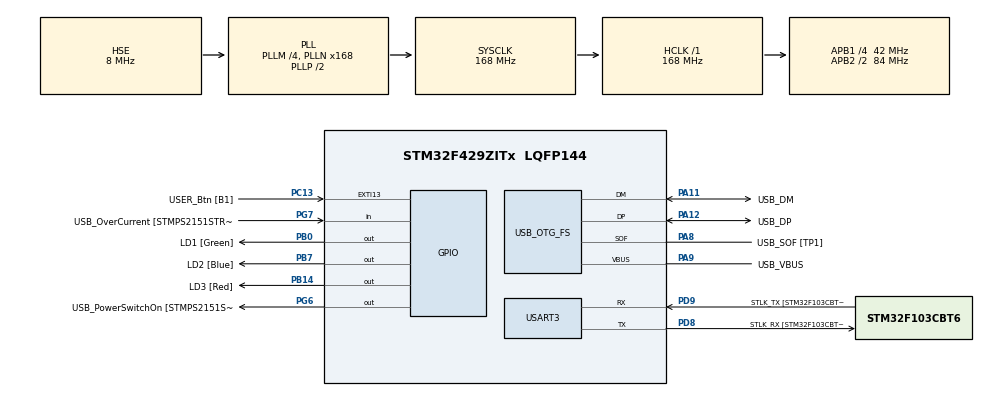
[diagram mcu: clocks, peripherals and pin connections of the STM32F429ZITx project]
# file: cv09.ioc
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Mcu.Family=STM32F4
Mcu.Name=STM32F429ZITx
Mcu.Package=LQFP144
NVIC.OTG_FS_IRQn=true\:0\:0\:false\:false\:true\:false\:true\:true
NVIC.PriorityGroup=NVIC_PRIORITYGROUP_4
PA1.GPIO_Label=RMII_REF_CLK [LAN8742A-CZ-TR_REFCLK0]
PA1.Signal=ETH_REF_CLK
PA10.GPIO_Label=USB_ID
PA10.Signal=USB_OTG_FS_ID
PA11.GPIO_Label=USB_DM
PA11.Mode=Device_Only
PA11.Signal=USB_OTG_FS_DM
PA12.GPIO_Label=USB_DP
PA12.Mode=Device_Only
PA12.Signal=USB_OTG_FS_DP
PA13.GPIO_Label=TMS
PA13.Mode=Serial_Wire
PA13.Signal=SYS_JTMS-SWDIO
PA14.GPIO_Label=TCK
PA14.Mode=Serial_Wire
PA14.Signal=SYS_JTCK-SWCLK
PA2.GPIO_Label=RMII_MDIO [LAN8742A-CZ-TR_MDIO]
PA2.Signal=ETH_MDIO
PA7.GPIO_Label=RMII_CRS_DV [LAN8742A-CZ-TR_CRS_DV]
PA7.Signal=ETH_CRS_DV
PA8.GPIO_Label=USB_SOF [TP1]
PA8.Mode=Activate_SOF_FS
PA8.Signal=USB_OTG_FS_SOF
PA9.GPIO_Label=USB_VBUS
PA9.Mode=Activate_VBUS
PA9.Signal=USB_OTG_FS_VBUS
PB0.GPIO_Label=LD1 [Green]
PB0.Signal=GPIO_Output
PB13.GPIO_Label=RMII_TXD1 [LAN8742A-CZ-TR_TXD1]
PB13.Signal=ETH_TXD1
PB14.GPIO_Label=LD3 [Red]
PB14.Signal=GPIO_Output
PB7.GPIO_Label=LD2 [Blue]
PB7.Signal=GPIO_Output
PC1.GPIO_Label=RMII_MDC [LAN8742A-CZ-TR_MDC]
PC1.Signal=ETH_MDC
PC13.GPIO_Label=USER_Btn [B1]
PC13.Signal=GPXTI13
PC14/OSC32_IN.Mode=LSE-External-Oscillator
PC14/OSC32_IN.Signal=RCC_OSC32_IN
PC15/OSC32_OUT.Mode=LSE-External-Oscillator
PC15/OSC32_OUT.Signal=RCC_OSC32_OUT
PC4.GPIO_Label=RMII_RXD0 [LAN8742A-CZ-TR_RXD0]
PC4.Signal=ETH_RXD0
PC5.GPIO_Label=RMII_RXD1 [LAN8742A-CZ-TR_RXD1]
PC5.Signal=ETH_RXD1
PD8.GPIO_Label=STLK_RX [STM32F103CBT6_PA3]
PD8.Mode=Asynchronous
PD8.Signal=USART3_TX
PD9.GPIO_Label=STLK_TX [STM32F103CBT6_PA2]
PD9.Mode=Asynchronous
PD9.Signal=USART3_RX
PG11.GPIO_Label=RMII_TX_EN [LAN8742A-CZ-TR_TXEN]
PG11.Signal=ETH_TX_EN
PG13.GPIO_Label=RMII_TXD0 [LAN8742A-CZ-TR_TXD0]
PG13.Signal=ETH_TXD0
PG6.GPIO_Label=USB_PowerSwitchOn [STMPS2151STR_EN]
PG6.Signal=GPIO_Output
PG7.GPIO_Label=USB_OverCurrent [STMPS2151STR_FAULT]
PG7.Signal=GPIO_Input
PH0/OSC_IN.GPIO_Label=MCO [STM32F103CBT6_PA8]
PH0/OSC_IN.Mode=HSE-External-Clock-Source
PH0/OSC_IN.Signal=RCC_OSC_IN
PH1/OSC_OUT.Mode=HSE-External-Clock-Source
PH1/OSC_OUT.Signal=RCC_OSC_OUT
ProjectManager.HeapSize=0x200
ProjectManager.StackSize=0x400
ProjectManager.TargetToolchain=STM32CubeIDE
RCC.48MHZClocksFreq_Value=48000000
RCC.AHBFreq_Value=168000000
RCC.APB1CLKDivider=RCC_HCLK_DIV4
RCC.APB1Freq_Value=42000000
RCC.APB1TimFreq_Value=84000000
RCC.APB2CLKDivider=RCC_HCLK_DIV2
RCC.APB2Freq_Value=84000000
RCC.APB2TimCLKDivider=2
RCC.APB2TimFreq_Value=168000000
RCC.CortexFreq_Value=168000000
RCC.HCLKFreq_Value=168000000
RCC.HSE_VALUE=8000000
RCC.HSI_VALUE=16000000
RCC.PLLM=4
RCC.PLLMUL=RCC_PLL_MUL9
RCC.PLLN=168
RCC.PLLQ=7
RCC.PRESCALERUSB=RCC_USBCLKSOURCE_PLL_DIV1_5
RCC.SYSCLKFreq_VALUE=168000000
RCC.SYSCLKSource=RCC_SYSCLKSOURCE_PLLCLK
RCC.SYSCLKSourceVirtual=RCC_SYSCLKSOURCE_PLLCLK
RCC.USBFreq_Value=48000000
RCC.VCOOutputFreq_Value=336000000
USART3.VirtualMode=VM_ASYNC
USB_DEVICE.CLASS_NAME_FS=HID
USB_DEVICE.VirtualMode-HID_FS=Hid
USB_DEVICE.VirtualModeFS=Hid_FS
USB_OTG_FS.VirtualMode=Device_Only
VP_USB_DEVICE_VS_USB_DEVICE_HID_FS.Mode=HID_FS
board=NUCLEO-F429ZI

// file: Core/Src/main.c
/* USER CODE BEGIN Header */
/**
 ******************************************************************************
 * @file           : main.c
 * @brief          : Main program body
 ******************************************************************************
 * @attention
 *
 * Copyright (c) 2022 STMicroelectronics.
 * All rights reserved.
 *
 * This software is licensed under terms that can be found in the LICENSE file
 * in the root directory of this software component.
 * If no LICENSE file comes with this software, it is provided AS-IS.
 *
 ******************************************************************************
 */
/* USER CODE END Header */
#include "main.h"
#include "usb_device.h"

/* USER CODE BEGIN Includes */
#include  "usbd_hid.h"
#include <math.h>
/* USER CODE END Includes */

/* USER CODE BEGIN PD */
#define PI 3.14
/* USER CODE END PD */

UART_HandleTypeDef huart3;

/* USER CODE BEGIN PV */
extern USBD_HandleTypeDef hUsbDeviceFS;
float a;
float x;
float y;
int dx; // shift
int dy; // shift
/* USER CODE END PV */

void SystemClock_Config(void);
static void MX_GPIO_Init(void);
static void MX_USART3_UART_Init(void);

/* USER CODE BEGIN 0 */
static void step(int8_t x, int8_t y, uint8_t btn) {
	uint8_t buff[4];
	buff[0] = (uint8_t) btn; 		// stiskni leve tlacitko
	buff[1] = (int8_t) x; 			// posun po ose X
	buff[2] = (int8_t) y; 			// posun po ose Y
	buff[3] = 0; 					// bez scrollu
	USBD_HID_SendReport(&hUsbDeviceFS, buff, sizeof(buff));
	HAL_Delay(USBD_HID_GetPollingInterval(&hUsbDeviceFS));
}

static void circle(int r) {

	for ( a = 0; a < 2*PI + PI/18; a = a + PI/18 ){
		x = r*cos(a);
		y = r*sin(a);

		dx = round(x);	// rounding
		dy = round(y);
		step(dx,dy,1);	// sending the new data
	}

}

static void eyes(int r) {
	step(dx,dy,0);
	step(-50,30,0); // move to left eye

	for ( a = 0; a < 2*PI; a = a + PI/18 ){
		x = r*cos(a);
		y = r*sin(a);

		dx = round(x);
		dy = round(y);
		step(dx,dy,1);
	}

	step(dx,dy,0);
	step(90,0,0); // move to right eye

	for ( a = 0; a < 2*PI; a = a + PI/18 ){
		x = r*cos(a);
		y = r*sin(a);

		dx = round(x);
		dy = round(y);
		step(dx,dy,1);
	}

}

static void nose(int r) {
	step(dx,dy,0);
	step(-45,30,1); // move to nose
	step(0,40,1); // draw nose

}

static void mouth(int r) {

	step(0,0,0); // stop drawing
	step(-20,30,1); // move to mouth

	for ( a = 3*PI/4; a < 5*PI/4; a = a + PI/18 ){
		x = r*cos(a);
		y = r*sin(-a);

		dx = round(x);
		dy = round(y);
		step(-dx,-dy,1);
	}
	step(0,0,0);
}

/* USER CODE END 0 */

int main(void)
{

	/* MCU Configuration--------------------------------------------------------*/

	/* Reset of all peripherals, Initializes the Flash interface and the Systick. */
	HAL_Init();

	/* Configure the system clock */
	SystemClock_Config();

	/* Initialize all configured peripherals */
	MX_GPIO_Init();
	MX_USART3_UART_Init();
	MX_USB_DEVICE_Init();

	/* Infinite loop */
	/* USER CODE BEGIN WHILE */
	while (1)
	{
		if (HAL_GPIO_ReadPin(USER_Btn_GPIO_Port, USER_Btn_Pin)){
			circle(20);
			eyes(2);
			nose(20);
			mouth(10);
		}
		/* USER CODE END WHILE */

	}
}

void SystemClock_Config(void)
{
	RCC_OscInitTypeDef RCC_OscInitStruct = {0};
	RCC_ClkInitTypeDef RCC_ClkInitStruct = {0};

	/** Configure the main internal regulator output voltage
	 */
	__HAL_RCC_PWR_CLK_ENABLE();
	__HAL_PWR_VOLTAGESCALING_CONFIG(PWR_REGULATOR_VOLTAGE_SCALE1);

	/** Initializes the RCC Oscillators according to the specified parameters
	 * in the RCC_OscInitTypeDef structure.
	 */
	RCC_OscInitStruct.OscillatorType = RCC_OSCILLATORTYPE_HSE;
	RCC_OscInitStruct.HSEState = RCC_HSE_BYPASS;
	RCC_OscInitStruct.PLL.PLLState = RCC_PLL_ON;
	RCC_OscInitStruct.PLL.PLLSource = RCC_PLLSOURCE_HSE;
	RCC_OscInitStruct.PLL.PLLM = 4;
	RCC_OscInitStruct.PLL.PLLN = 168;
	RCC_OscInitStruct.PLL.PLLP = RCC_PLLP_DIV2;
	RCC_OscInitStruct.PLL.PLLQ = 7;
	if (HAL_RCC_OscConfig(&RCC_OscInitStruct) != HAL_OK)
	{
		Error_Handler();
	}

	/** Initializes the CPU, AHB and APB buses clocks
	 */
	RCC_ClkInitStruct.ClockType = RCC_CLOCKTYPE_HCLK|RCC_CLOCKTYPE_SYSCLK
			|RCC_CLOCKTYPE_PCLK1|RCC_CLOCKTYPE_PCLK2;
	RCC_ClkInitStruct.SYSCLKSource = RCC_SYSCLKSOURCE_PLLCLK;
	RCC_ClkInitStruct.AHBCLKDivider = RCC_SYSCLK_DIV1;
	RCC_ClkInitStruct.APB1CLKDivider = RCC_HCLK_DIV4;
	RCC_ClkInitStruct.APB2CLKDivider = RCC_HCLK_DIV2;

	if (HAL_RCC_ClockConfig(&RCC_ClkInitStruct, FLASH_LATENCY_5) != HAL_OK)
	{
		Error_Handler();
	}
}

static void MX_USART3_UART_Init(void)
{

	huart3.Instance = USART3;
	huart3.Init.BaudRate = 115200;
	huart3.Init.WordLength = UART_WORDLENGTH_8B;
	huart3.Init.StopBits = UART_STOPBITS_1;
	huart3.Init.Parity = UART_PARITY_NONE;
	huart3.Init.Mode = UART_MODE_TX_RX;
	huart3.Init.HwFlowCtl = UART_HWCONTROL_NONE;
	huart3.Init.OverSampling = UART_OVERSAMPLING_16;
	if (HAL_UART_Init(&huart3) != HAL_OK)
	{
		Error_Handler();
	}

}

static void MX_GPIO_Init(void)
{
	GPIO_InitTypeDef GPIO_InitStruct = {0};

	/* GPIO Ports Clock Enable */
	__HAL_RCC_GPIOC_CLK_ENABLE();
	__HAL_RCC_GPIOH_CLK_ENABLE();
	__HAL_RCC_GPIOA_CLK_ENABLE();
	__HAL_RCC_GPIOB_CLK_ENABLE();
	__HAL_RCC_GPIOD_CLK_ENABLE();
	__HAL_RCC_GPIOG_CLK_ENABLE();

	/*Configure GPIO pin Output Level */
	HAL_GPIO_WritePin(GPIOB, LD1_Pin|LD3_Pin|LD2_Pin, GPIO_PIN_RESET);

	/*Configure GPIO pin Output Level */
	HAL_GPIO_WritePin(USB_PowerSwitchOn_GPIO_Port, USB_PowerSwitchOn_Pin, GPIO_PIN_RESET);

	/*Configure GPIO pin : USER_Btn_Pin */
	GPIO_InitStruct.Pin = USER_Btn_Pin;
	GPIO_InitStruct.Mode = GPIO_MODE_IT_RISING;
	GPIO_InitStruct.Pull = GPIO_NOPULL;
	HAL_GPIO_Init(USER_Btn_GPIO_Port, &GPIO_InitStruct);

	/*Configure GPIO pins : RMII_MDC_Pin RMII_RXD0_Pin RMII_RXD1_Pin */
	GPIO_InitStruct.Pin = RMII_MDC_Pin|RMII_RXD0_Pin|RMII_RXD1_Pin;
	GPIO_InitStruct.Mode = GPIO_MODE_AF_PP;
	GPIO_InitStruct.Pull = GPIO_NOPULL;
	GPIO_InitStruct.Speed = GPIO_SPEED_FREQ_VERY_HIGH;
	GPIO_InitStruct.Alternate = GPIO_AF11_ETH;
	HAL_GPIO_Init(GPIOC, &GPIO_InitStruct);

	/*Configure GPIO pins : RMII_REF_CLK_Pin RMII_MDIO_Pin RMII_CRS_DV_Pin */
	GPIO_InitStruct.Pin = RMII_REF_CLK_Pin|RMII_MDIO_Pin|RMII_CRS_DV_Pin;
	GPIO_InitStruct.Mode = GPIO_MODE_AF_PP;
	GPIO_InitStruct.Pull = GPIO_NOPULL;
	GPIO_InitStruct.Speed = GPIO_SPEED_FREQ_VERY_HIGH;
	GPIO_InitStruct.Alternate = GPIO_AF11_ETH;
	HAL_GPIO_Init(GPIOA, &GPIO_InitStruct);

	/*Configure GPIO pins : LD1_Pin LD3_Pin LD2_Pin */
	GPIO_InitStruct.Pin = LD1_Pin|LD3_Pin|LD2_Pin;
	GPIO_InitStruct.Mode = GPIO_MODE_OUTPUT_PP;
	GPIO_InitStruct.Pull = GPIO_NOPULL;
	GPIO_InitStruct.Speed = GPIO_SPEED_FREQ_LOW;
	HAL_GPIO_Init(GPIOB, &GPIO_InitStruct);

	/*Configure GPIO pin : RMII_TXD1_Pin */
	GPIO_InitStruct.Pin = RMII_TXD1_Pin;
	GPIO_InitStruct.Mode = GPIO_MODE_AF_PP;
	GPIO_InitStruct.Pull = GPIO_NOPULL;
	GPIO_InitStruct.Speed = GPIO_SPEED_FREQ_VERY_HIGH;
	GPIO_InitStruct.Alternate = GPIO_AF11_ETH;
	HAL_GPIO_Init(RMII_TXD1_GPIO_Port, &GPIO_InitStruct);

	/*Configure GPIO pin : USB_PowerSwitchOn_Pin */
	GPIO_InitStruct.Pin = USB_PowerSwitchOn_Pin;
	GPIO_InitStruct.Mode = GPIO_MODE_OUTPUT_PP;
	GPIO_InitStruct.Pull = GPIO_NOPULL;
	GPIO_InitStruct.Speed = GPIO_SPEED_FREQ_LOW;
	HAL_GPIO_Init(USB_PowerSwitchOn_GPIO_Port, &GPIO_InitStruct);

	/*Configure GPIO pin : USB_OverCurrent_Pin */
	GPIO_InitStruct.Pin = USB_OverCurrent_Pin;
	GPIO_InitStruct.Mode = GPIO_MODE_INPUT;
	GPIO_InitStruct.Pull = GPIO_NOPULL;
	HAL_GPIO_Init(USB_OverCurrent_GPIO_Port, &GPIO_InitStruct);

	/*Configure GPIO pins : RMII_TX_EN_Pin RMII_TXD0_Pin */
	GPIO_InitStruct.Pin = RMII_TX_EN_Pin|RMII_TXD0_Pin;
	GPIO_InitStruct.Mode = GPIO_MODE_AF_PP;
	GPIO_InitStruct.Pull = GPIO_NOPULL;
	GPIO_InitStruct.Speed = GPIO_SPEED_FREQ_VERY_HIGH;
	GPIO_InitStruct.Alternate = GPIO_AF11_ETH;
	HAL_GPIO_Init(GPIOG, &GPIO_InitStruct);

}

void Error_Handler(void)
{
	__disable_irq();
	while (1)
	{
	}
}
